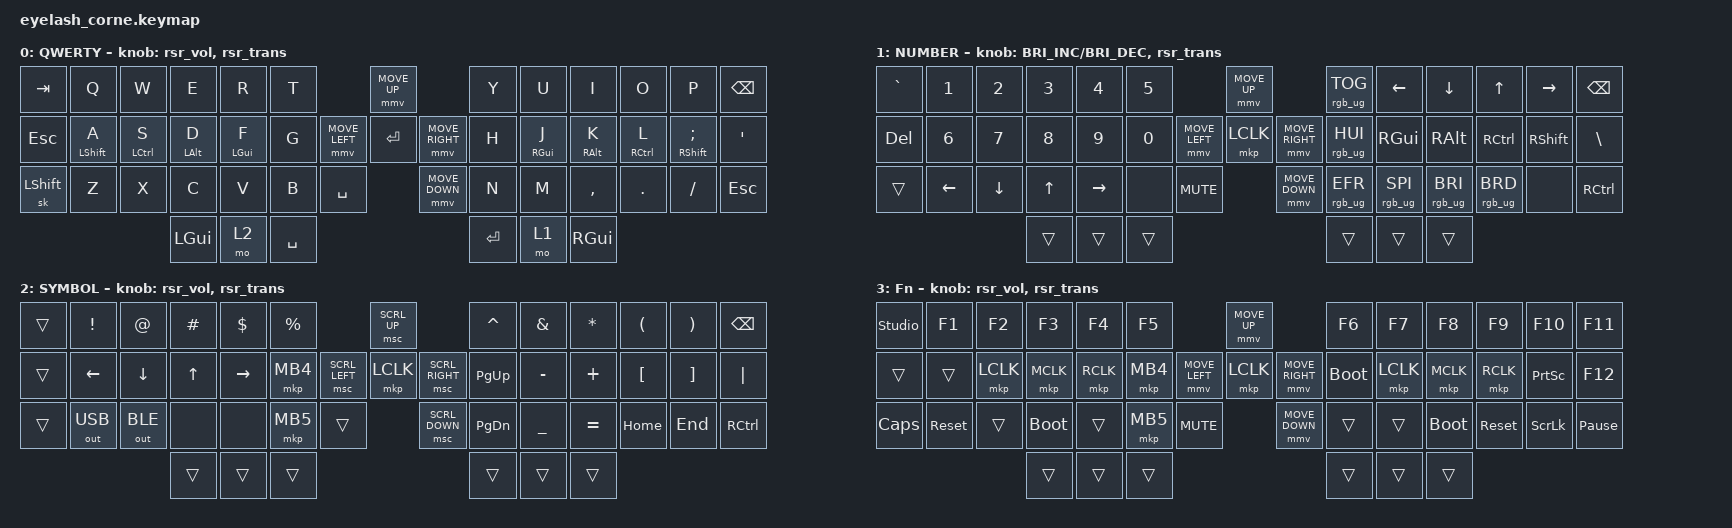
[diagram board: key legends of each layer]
#define ZMK_POINTING_DEFAULT_MOVE_VAL 1200  // 600
#define ZMK_POINTING_DEFAULT_SCRL_VAL 25   // 10

#include <input/processors.dtsi>
#include <zephyr/dt-bindings/input/input-event-codes.h>
#include <behaviors/runtime-sensor-rotate.dtsi>
#include <behaviors.dtsi>
#include <dt-bindings/zmk/keys.h>
#include <dt-bindings/zmk/outputs.h>
#include <dt-bindings/zmk/pointing.h>
#include <dt-bindings/zmk/rgb.h>

&soft_off { hold-time-ms = <2000>; };

/ {
    behaviors {
        td0: td0 {
            compatible = "zmk,behavior-tap-dance";
            display-name = "Shift/Caps Lock Tap Dance";
            #binding-cells = <0>;
            bindings = <&kp LEFT_SHIFT>, <&kp CAPS>;
        };

        rsr_vol: rsr_vol {
            compatible = "zmk,behavior-runtime-sensor-rotate";
            #sensor-binding-cells = <0>;
            tap-ms = <5>;
            cw-binding = <&kp C_VOL_UP>;
            ccw-binding = <&kp C_VOL_DN>;
        };

        rsr_trans: rsr_trans {
            compatible = "zmk,behavior-runtime-sensor-rotate";
            #sensor-binding-cells = <0>;
            tap-ms = <0>;
        };

        hml: hml {
            compatible = "zmk,behavior-hold-tap";
            label = "HML";
            bindings = <&kp>, <&kp>;

            #binding-cells = <2>;
            tapping-term-ms = <280>;
            quick-tap-ms = <175>;
            require-prior-idle-ms = <150>;
            flavor = "balanced";
            hold-trigger-key-positions = <7 8 9 10 11 12 22 23 24 25 26 27 36 37 38 39 40 41 45 46 47>;
            hold-trigger-on-release;
        };

        hmr: hmr {
            compatible = "zmk,behavior-hold-tap";
            label = "HMR";
            bindings = <&kp>, <&kp>;

            #binding-cells = <2>;
            tapping-term-ms = <280>;
            quick-tap-ms = <175>;
            require-prior-idle-ms = <150>;
            flavor = "balanced";
            hold-trigger-key-positions = <0 1 2 3 4 5 13 14 15 16 17 18 28 29 30 31 32 33 42 43 44>;
            hold-trigger-on-release;
        };
    };

    combos {
        compatible = "zmk,combos";

        softoff {
            bindings = <&soft_off>;
            key-positions = <1 15 29>;
        };

        layer3 {
            bindings = <&mo 3>;
            key-positions = <43 46>;
        };
    };

    keymap {
        compatible = "zmk,keymap";

        default_layer {
            display-name = "QWERTY";
            bindings = <
&kp TAB         &kp Q              &kp W         &kp E            &kp R            &kp T                                   &mmv MOVE_UP                     &kp Y      &kp U             &kp I             &kp O         &kp P                       &kp BSPC
&kp ESC         &hml LEFT_SHIFT A  &hml LCTRL S  &hml LEFT_ALT D  &hml LEFT_GUI F  &kp G                   &mmv MOVE_LEFT  &kp ENTER       &mmv MOVE_RIGHT  &kp H      &hmr RIGHT_GUI J  &hmr RIGHT_ALT K  &hmr RCTRL L  &hmr RIGHT_SHIFT SEMICOLON  &kp SQT
&sk LEFT_SHIFT  &kp Z              &kp X         &kp C            &kp V            &kp B      &kp SPACE                    &mmv MOVE_DOWN                   &kp N      &kp M             &kp COMMA         &kp DOT       &kp FSLH                    &kp ESC
                                                 &kp LGUI         &mo 2            &kp SPACE                                                                &kp ENTER  &mo 1             &kp RIGHT_GUI
            >;

            sensor-bindings = <&rsr_vol &rsr_trans>;
        };

        lower_layer {
            display-name = "NUMBER";
            bindings = <
&kp GRAVE   &kp N1          &kp N2          &kp N3        &kp N4           &kp N5                                      &mmv MOVE_UP                     &rgb_ug RGB_TOG  &kp LEFT_ARROW   &kp DOWN_ARROW   &kp UP_ARROW     &kp RIGHT_ARROW  &kp BSPC
&kp DELETE  &kp NUMBER_6    &kp NUMBER_7    &kp NUMBER_8  &kp NUMBER_9     &kp NUMBER_0                &mmv MOVE_LEFT  &mkp LCLK       &mmv MOVE_RIGHT  &rgb_ug RGB_HUI  &kp RIGHT_GUI    &kp RIGHT_ALT    &kp RCTRL        &kp RIGHT_SHIFT  &kp BACKSLASH
&trans      &kp LEFT_ARROW  &kp DOWN_ARROW  &kp UP_ARROW  &kp RIGHT_ARROW  &none         &kp C_MUTE                    &mmv MOVE_DOWN                   &rgb_ug RGB_EFR  &rgb_ug RGB_SPI  &rgb_ug RGB_BRI  &rgb_ug RGB_BRD  &none            &kp RCTRL
                                            &trans        &trans           &trans                                                                       &trans           &trans           &trans
            >;

            sensor-bindings =
                <&inc_dec_kp C_BRIGHTNESS_INC C_BRIGHTNESS_DEC>,
                <&rsr_trans>;
        };

        raise_layer {
            display-name = "SYMBOL";
            bindings = <
&trans  &kp EXCL        &kp AT          &kp HASH      &kp DLLR         &kp PRCNT                            &msc SCRL_UP                     &kp CARET      &kp AMPS        &kp ASTRK  &kp LPAR  &kp RPAR           &kp BSPC
&trans  &kp LEFT_ARROW  &kp DOWN_ARROW  &kp UP_ARROW  &kp RIGHT_ARROW  &mkp MB4             &msc SCRL_LEFT  &mkp LCLK       &msc SCRL_RIGHT  &kp PAGE_UP    &kp MINUS       &kp PLUS   &kp LBKT  &kp RIGHT_BRACKET  &kp PIPE
&trans  &out OUT_USB    &out OUT_BLE    &none         &none            &mkp MB5   &trans                    &msc SCRL_DOWN                   &kp PAGE_DOWN  &kp UNDERSCORE  &kp EQUAL  &kp HOME  &kp END            &kp RCTRL
                                        &trans        &trans           &trans                                                                &trans         &trans          &trans
            >;

            sensor-bindings = <&rsr_vol &rsr_trans>;
        };

        layer_3 {
            display-name = "Fn";
            bindings = <
&studio_unlock  &kp F1      &kp F2     &kp F3       &kp F4     &kp F5                                  &mmv MOVE_UP                     &kp F6       &kp F7     &kp F8       &kp F9      &kp F10          &kp F11
&trans          &trans      &mkp LCLK  &mkp MCLK    &mkp RCLK  &mkp MB4                &mmv MOVE_LEFT  &mkp LCLK       &mmv MOVE_RIGHT  &bootloader  &mkp LCLK  &mkp MCLK    &mkp RCLK   &kp PRINTSCREEN  &kp F12
&kp CAPSLOCK    &sys_reset  &trans     &bootloader  &trans     &mkp MB5  &kp C_MUTE                    &mmv MOVE_DOWN                   &trans       &trans     &bootloader  &sys_reset  &kp SCROLLLOCK   &kp PAUSE_BREAK
                                       &trans       &trans     &trans                                                                   &trans       &trans     &trans
            >;

            sensor-bindings = <&rsr_vol &rsr_trans>;
        };
    };
};
